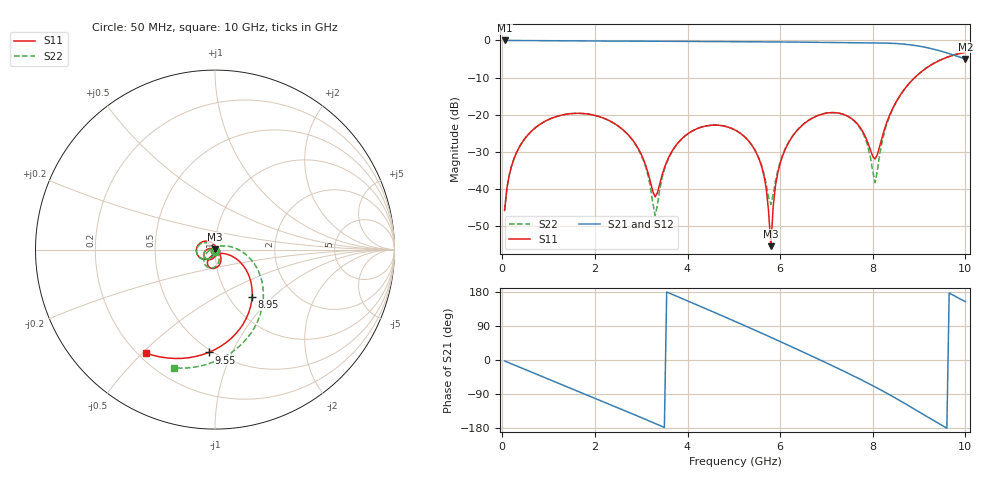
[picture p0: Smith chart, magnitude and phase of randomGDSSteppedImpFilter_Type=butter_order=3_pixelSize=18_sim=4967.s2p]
! freq	dB(S11)	phase(S11)	dB(S12)	phase(S12)
!  dB(S21)	phase(S21)	dB(S22)	phase(S22)
!S-par simulation data
#  GHz  S  DB  R 50
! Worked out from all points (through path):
!   200 points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, 50 MHz to 10 GHz, reference 50 ohm
!   highest |S21| = 0.00 dB at 50 MHz (marker M1); lowest = -5.0 dB at 10 GHz (marker M2)
!   group delay of S21, straight-line fit = 154 ps
!   lowest |S11| = -55.5 dB at 5.8 GHz (marker M3), VSWR 1.00, Z = 50.1 + j0.12 ohm
!   |S11| at or under -10 dB: start of sweep to 8.907 GHz
!   |S22| runs from -47.3 to -3.1 dB; largest |S21 - S12| = 0
!   S11 on the Smith chart (normalised r, x): 50 MHz: 1.00, -0.01; 8.95 GHz: 1.27, -0.75; 9.55 GHz: 0.48, -0.82; 10 GHz: 0.23, -0.51
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0.05  -45.85 -91.9  -0.00 -2.6  -0.00 -2.6  -45.85 -91.8
0.2  -33.88 -100.2  -0.02 -10.2  -0.02 -10.2  -33.88 -99.8
0.5  -26.27 -116.1  -0.04 -25.4  -0.04 -25.4  -26.27 -115.3
1.75  -19.72 178.6  -0.15 -88.3  -0.15 -88.3  -19.73 -177.6
2.85  -27.48 115.2  -0.18 -144.2  -0.18 -144.2  -27.59 131.1
3.1  -33.83 90.3  -0.19 -157.1  -0.19 -157.1  -34.32 125.4
3.3  -42.19 14.5  -0.21 -167.5  -0.21 -167.5  -47.26 -170.4
3.4  -38.67 -41.5  -0.21 -172.7  -0.21 -172.7  -40.21 -108.1
3.95  -25.71 -103.8  -0.27 158.7  -0.27 158.7  -25.75 -114.6
5.05  -24.33 -166.4  -0.36 100.6  -0.36 100.6  -24.32 -166.9
5.6  -34.04 161.4  -0.38 70.8  -0.38 70.8  -33.75 175.8
5.7  -39.98 152.8  -0.38 65.4  -0.38 65.4  -38.82 -174.9
5.8  -55.50 45.4  -0.39 59.8  -0.39 59.8  -44.26 -116.2
5.9  -39.06 -26.3  -0.40 54.3  -0.40 54.3  -37.86 -65.3
6.05  -31.22 -38.0  -0.41 46.0  -0.41 46.0  -30.96 -57.5
6.7  -20.93 -75.5  -0.50 9.4  -0.50 9.4  -20.89 -85.1
7.6  -21.66 -120.7  -0.60 -43.0  -0.60 -43.0  -21.75 -138.8
8.05  -31.97 -72.0  -0.64 -71.0  -0.64 -71.0  -38.35 112.6
8.35  -20.56 -20.8  -0.74 -90.8  -0.74 -90.8  -20.92 10.0
8.95  -9.50 -52.0  -1.43 -133.3  -1.43 -133.3  -9.49 -37.4
9.55  -4.82 -93.5  -3.16 -176.3  -3.16 -176.3  -4.77 -80.3
10  -3.19 -123.5  -5.01 153.9  -5.01 153.9  -3.12 -109.2
